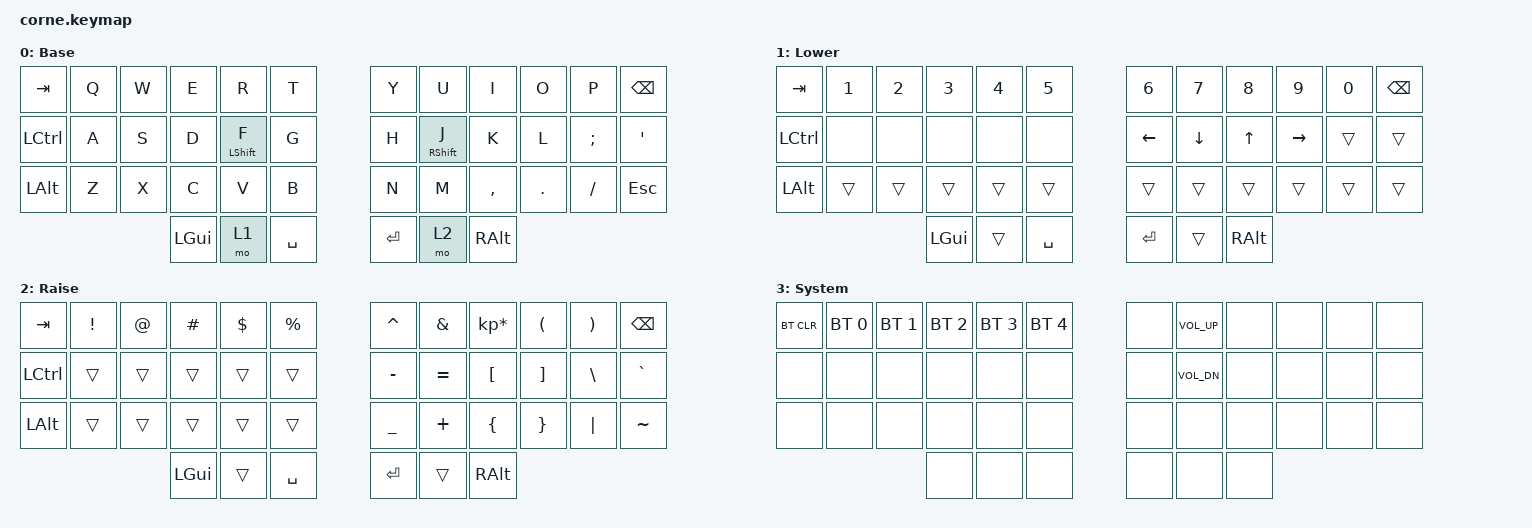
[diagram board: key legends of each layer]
/*
 * Copyright (c) 2020 The ZMK Contributors
 *
 * SPDX-License-Identifier: MIT
 */

#include <behaviors.dtsi>
#include <dt-bindings/zmk/keys.h>
#include <dt-bindings/zmk/bt.h>

/ {
        conditional_layers {
          compatible = "zmk,conditional-layers";
          tri_layer {
            if-layers = <1 2>;
            then-layer = <3>;
          };
        };

        keymap {
                compatible = "zmk,keymap";

                default_layer {
// -----------------------------------------------------------------------------------------
// |  TAB |  Q  |  W  |  E  |  R  |  T  |   |  Y  |  U   |  I  |  O  |  P  | BKSP |
// | CTRL |  A  |  S  |  D  |  F  |  G  |   |  H  |  J   |  K  |  L  |  ;  |  '   |
// |  ALT |  Z  |  X  |  C  |  V  |  B  |   |  N  |  M   |  ,  |  .  |  /  | ESC  |
//                    | GUI | LWR | SPC |   | ENT | RSE  | ALT |
                        label = "Base";
                        bindings = <
   &kp TAB   &kp Q &kp W &kp E &kp R &kp T   &kp Y &kp U  &kp I     &kp O   &kp P    &kp BSPC
   &kp LCTRL &kp A &kp S &kp D &mt LSHIFT F &kp G   &kp H &mt RSHIFT J  &kp K     &kp L   &kp SEMI &kp SQT
   &kp LALT  &kp Z &kp X &kp C &kp V &kp B   &kp N &kp M  &kp COMMA &kp DOT &kp FSLH &kp ESC
                         &kp LGUI &mo 1 &kp SPACE   &kp RET &mo 2 &kp RALT
                        >;
                };
                lower_layer {
// -----------------------------------------------------------------------------------------
// |  TAB |  1  |  2  |  3  |  4  |  5  |   |  6  |  7  |  8  |  9  |  0  | BKSP |
// | CTRL |     |     |     |     |     |   | LFT | DWN |  UP | RGT |     |      |
// |  ALT |     |     |     |     |     |   |     |     |     |     |     |      |
//                    | GUI |     | SPC |   | ENT |     | ALT |
                        label = "Lower";
                        bindings = <
   &kp TAB    &kp N1       &kp N2       &kp N3       &kp N4       &kp N5         &kp N6   &kp N7   &kp N8 &kp N9    &kp N0 &kp BSPC
   &kp LCTRL  &none        &none        &none        &none        &none          &kp LEFT &kp DOWN &kp UP &kp RIGHT &trans &trans
   &kp LALT   &trans       &trans       &trans       &trans       &trans         &trans   &trans   &trans &trans    &trans &trans
                          	            &kp LGUI     &trans       &kp SPACE      &kp RET  &trans   &kp RALT
                        >;
                };

                raise_layer {
// -----------------------------------------------------------------------------------------
// |  TAB |  !  |  @  |  #  |  $  |  %  |   |  ^  |  &  |  *  |  (  |  )  | BKSP |
// | CTRL |     |     |     |     |     |   |  -  |  =  |  [  |  ]  |  \  |  `   |
// |  ALT |     |     |     |     |     |   |  _  |  +  |  {  |  }  | "|" |  ~   |
//                    | GUI |     | SPC |   | ENT |     | ALT |
                        label = "Raise";
                        bindings = <
   &kp  TAB  &kp EXCL &kp AT &kp HASH &kp DLLR &kp PRCNT   &kp CARET &kp AMPS  &kp KP_MULTIPLY &kp LPAR &kp RPAR &kp BSPC
   &kp LCTRL &trans   &trans &trans   &trans   &trans      &kp MINUS &kp EQUAL &kp LBKT        &kp RBKT &kp BSLH &kp GRAVE
   &kp LALT  &trans   &trans &trans   &trans   &trans      &kp UNDER &kp PLUS  &kp LBRC        &kp RBRC &kp PIPE &kp TILDE
                    	     &kp LGUI &trans   &kp SPACE   &kp RET   &trans    &kp RALT
                        >;
                };

                third_layer {
                  label = "System";
                  bindings = <
// -----------------------------------------------------------------------------------------
// | BTCLR| BT1 | BT2 | BT3 | BT4 | BT5 |   |     |     |     |     |     |      |
// |      |     |     |     |     |     |   |     |     |     |     |     |      |
// |      |     |     |     |     |     |   |     |     |     |     |     |      |
//                    |     |     |     |   |     |     |     |
   &bt BT_CLR &bt BT_SEL 0 &bt BT_SEL 1 &bt BT_SEL 2 &bt BT_SEL 3 &bt BT_SEL 4   &none &kp C_VOL_UP &none &none &none &none
   &none &none &none &none &none &none   &none &kp C_VOL_DN &none &none &none &none 
   &none &none &none &none &none &none   &none &none &none &none &none &none 
                     &none &none &none   &none &none &none 
                  >;
                };
        };
};
